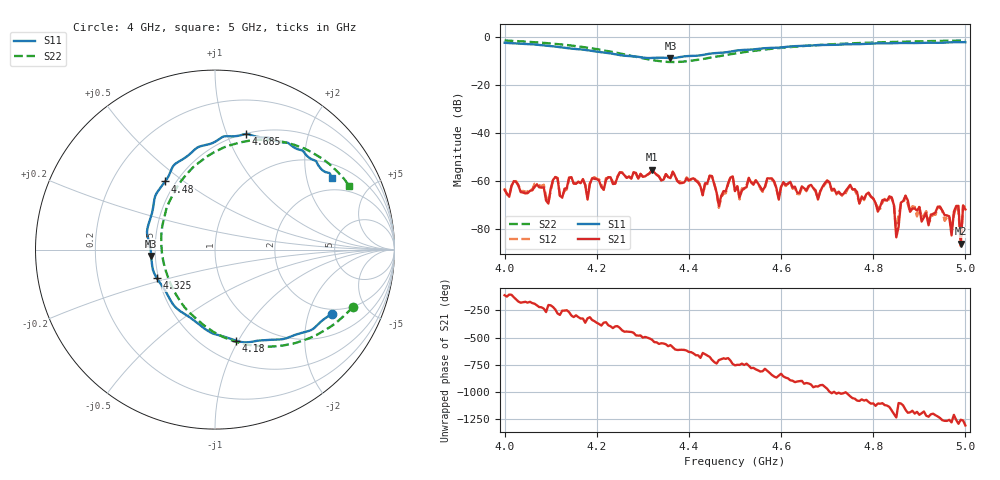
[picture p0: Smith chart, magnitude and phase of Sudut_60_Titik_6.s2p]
# Hz S RI R 50
! CMT, C1220, 16058040, 17.2.0/1
! Date: 15/08/2018 12:09:20
! Data: Format (Calibration Info)
! Freq  S11: Re/Im (F2)  S21: Re/Im (F2)  S12: Re/Im (F2)  S22: Re/Im (F2)
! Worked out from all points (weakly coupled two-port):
!   201 points, 4 GHz to 5 GHz, reference 50 ohm
!   highest |S21| = -55.39 dB at 4.32 GHz (marker M1); lowest = -86.3 dB at 4.99 GHz (marker M2)
!   lowest |S11| = -8.9 dB at 4.36 GHz (marker M3), VSWR 2.11, Z = 23.7 - j1.9 ohm
!   |S11| at or under -10 dB: nowhere
!   |S22| runs from -10.6 to -1.6 dB; largest |S21 - S12| = 0.00014
!   S11 on the Smith chart (normalised r, x): 4 GHz: 1.80, -2.87; 4.18 GHz: 0.70, -0.98; 4.325 GHz: 0.49, -0.18; 4.48 GHz: 0.44, +0.43; 4.685 GHz: 0.50, +1.17; 5 GHz: 1.47, +2.84
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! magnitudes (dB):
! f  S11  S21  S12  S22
! 4 GHz  -2.6  -63.9  -63.1  -1.6
! 4.095 GHz  -3.9  -69.6  -69.1  -2.8
! 4.11 GHz  -4.2  -58.5  -58.5  -3.0
! 4.125 GHz  -4.5  -67.1  -66.4  -3.3
! 4.17 GHz  -5.4  -59.4  -59.7  -4.3
! 4.18 GHz  -5.7  -67.9  -66.8  -4.6
! 4.19 GHz  -6.0  -59.0  -59.0  -4.9
! 4.32 GHz  -8.9  -55.4  -55.6  -9.7
! 4.325 GHz  -8.8  -56.6  -56.8  -9.9
! 4.335 GHz  -8.8  -58.3  -58.2  -10.2
! 4.36 GHz  -8.9  -59.0  -59.1  -10.6
! 4.48 GHz  -6.6  -64.4  -65.3  -7.7
! 4.5 GHz  -5.9  -64.4  -64.1  -7.1
! 4.67 GHz  -3.7  -63.2  -63.1  -3.6
! 4.685 GHz  -3.5  -64.6  -64.3  -3.5
! 4.835 GHz  -2.8  -66.5  -67.4  -2.3
! 4.85 GHz  -2.7  -83.6  -82.0  -2.2
! 4.87 GHz  -2.7  -66.3  -66.2  -2.1
! 4.92 GHz  -2.5  -78.6  -77.4  -1.9
! 4.985 GHz  -2.3  -70.5  -72.9  -1.7
! 4.99 GHz  -2.3  -86.3  -87.3  -1.7
! 5 GHz  -2.3  -72.0  -71.2  -1.6
